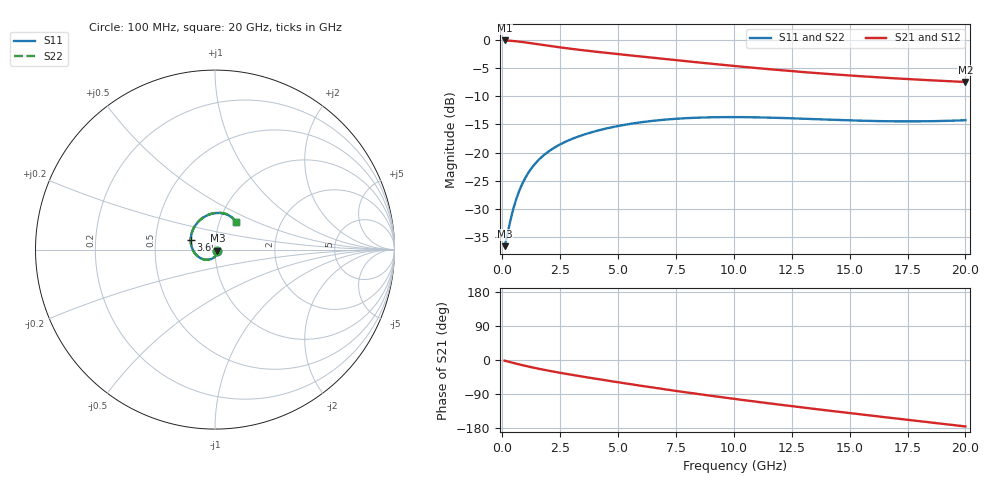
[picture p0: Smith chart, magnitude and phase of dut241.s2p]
! Touchstone file exported from HFSS 2023.1.0
!  File:  D:/Users/fzz/RDL_TSV/temp_RDL_TSV_241_1778759391.aedt
!  Generated:  7:59:29 %x4E0B%x5348  5%x6708 14, 2026
!  Design:  RDL_TSV
!  Project:  temp_RDL_TSV_241_1778759391
!  Setup:  Setup1
!  Solution:  Sweep
! Variables:
!  dtsv = 15.31um
!  hbump = 3um
!  htsv = 65.18um
!  ldown = 432.9um
!  lrdl = 289.36um
!  p = 40
!  p1 = 43.31um
!  rhole = 10um
!  subl = 2456.14um
!  t = 450um
!  tdown = 2.58um
!  trdl = 2.2um
!  viad = 10um
!  wdown = 29.13um
!  wrdl = 27.04um
!  xbump = 18um
# GHz S MA R 50.000000
! Terminal data exported
! Port[1] = TM1_1_T1
! Port[2] = TM1_4_T1
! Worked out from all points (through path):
!   200 points, 100 MHz to 20 GHz, reference 50 ohm
!   highest |S21| = -0.13 dB at 100 MHz (marker M1); lowest = -7.5 dB at 20 GHz (marker M2)
!   group delay of S21, straight-line fit = 23.2 ps
!   lowest |S11| = -36.6 dB at 100 MHz (marker M3), VSWR 1.03, Z = 51.4 - j0.653 ohm
!   |S11| at or under -10 dB: start of sweep to end of sweep
!   |S22| runs from -36.6 to -13.6 dB; largest |S21 - S12| = 1.2e-14
!   S11 on the Smith chart (normalised r, x): 100 MHz: 1.03, -0.01; 3.6 GHz: 0.76, +0.09; 20 GHz: 1.20, +0.38
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0.1  0.01485 -25.3  0.9856 -1.7  0.9856 -1.7  0.01485 -25.3
! Gamma 0 0 0 0
! Port Impedance 50 0 50 0
0.4  0.02768 -72.8  0.9773 -6.6  0.9773 -6.6  0.02768 -72.8
0.6  0.03863 -90.6  0.9688 -9.7  0.9688 -9.7  0.03863 -90.6
0.7  0.04414 -97.8  0.964 -11.2  0.964 -11.2  0.04414 -97.8
0.9  0.05488 -110.2  0.9532 -14.1  0.9532 -14.1  0.05489 -110.2
1.2  0.06987 -125.8  0.9352 -18.3  0.9352 -18.3  0.06989 -125.8
1.6  0.08746 -143.1  0.9097 -23.5  0.9097 -23.5  0.08751 -143.2
2.1  0.1059 -161.4  0.8787 -29.4  0.8787 -29.4  0.106 -161.4
2.7  0.1241 -179.7  0.8451 -35.9  0.8451 -35.9  0.1244 -179.8
3.5  0.1439 160.1  0.8066 -44.1  0.8066 -44.1  0.1443 160.0
3.6  0.1461 157.8  0.8022 -45.1  0.8022 -45.1  0.1465 157.7
4.4  0.162 141.4  0.7691 -53.0  0.7691 -53.0  0.1626 141.3
5.2  0.1752 127.4  0.7387 -60.6  0.7387 -60.6  0.1759 127.3
6.8  0.1941 104.9  0.6827 -75.4  0.6827 -75.4  0.1951 104.8
8.5  0.2043 87.0  0.6287 -90.1  0.6287 -90.1  0.2055 86.9
10.1  0.2065 74.3  0.5836 -103.3  0.5836 -103.3  0.2078 74.3
11.7  0.2039 65.1  0.5447 -115.7  0.5447 -115.7  0.2053 65.1
13.4  0.1985 58.5  0.5099 -128.5  0.5099 -128.5  0.1999 58.5
15  0.1933 54.7  0.4826 -140.1  0.4826 -140.1  0.1947 54.7
16.7  0.1897 52.8  0.4585 -152.2  0.4585 -152.2  0.1911 52.9
18.3  0.1896 52.5  0.4396 -163.4  0.4396 -163.4  0.1911 52.5
20  0.1938 52.7  0.4225 -175.4  0.4225 -175.4  0.1952 52.7
